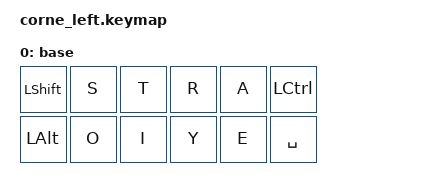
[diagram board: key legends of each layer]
#include <behaviors.dtsi>
#include <dt-bindings/zmk/keys.h>

/ {
    keymap {
        compatible = "zmk,keymap";

        /* =========================
         * Base: ARTSEY Beta 0.9.0
         * 2×6 corne_left
         * ========================= */
        base {
            bindings = <
                /* Row 0 (top) */
                &kp LSHIFT   &kp S   &kp T   &kp R   &kp A   &kp LCTRL

                /* Row 1 (bottom) */
                &kp LALT     &kp O   &kp I   &kp Y   &kp E   &kp SPACE
            >;
        };
    };
};
